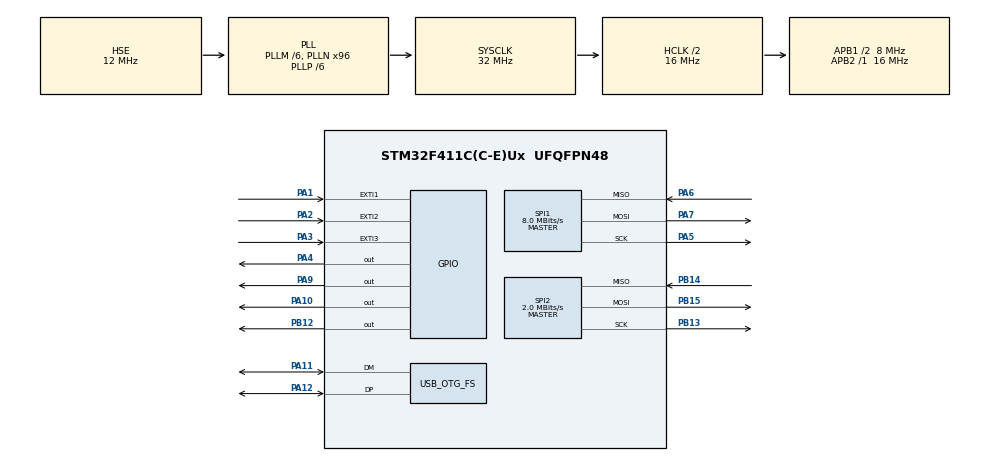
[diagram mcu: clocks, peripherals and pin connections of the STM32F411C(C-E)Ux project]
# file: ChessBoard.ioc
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FREERTOS.Tasks01=blinkErrorTask,8,128,blinkError,Default,NULL,Dynamic,NULL,NULL;updateTimeTask,8,128,updateTime,Default,NULL,Dynamic,NULL,NULL;updateMoveTask,8,128,updateMove,Default,NULL,Dynamic,NULL,NULL;animLightsTask,8,128,animateLights,Default,NULL,Dynamic,NULL,NULL
Mcu.Family=STM32F4
Mcu.Name=STM32F411C(C-E)Ux
Mcu.Package=UFQFPN48
NVIC.EXTI1_IRQn=true\:5\:0\:false\:false\:true\:true\:true\:true\:true
NVIC.EXTI2_IRQn=true\:5\:0\:false\:false\:true\:true\:true\:true\:true
NVIC.EXTI3_IRQn=true\:5\:0\:false\:false\:true\:true\:true\:true\:true
NVIC.OTG_FS_IRQn=true\:5\:0\:false\:false\:true\:true\:true\:true\:true
NVIC.PriorityGroup=NVIC_PRIORITYGROUP_4
NVIC.TIM1_UP_TIM10_IRQn=true\:15\:0\:false\:false\:true\:false\:false\:true\:true
NVIC.TIM2_IRQn=true\:5\:0\:false\:false\:true\:true\:true\:true\:true
NVIC.TIM3_IRQn=true\:5\:0\:false\:false\:true\:true\:true\:true\:true
NVIC.TIM5_IRQn=true\:5\:0\:false\:false\:true\:true\:true\:true\:true
NVIC.TimeBase=TIM1_UP_TIM10_IRQn
NVIC.TimeBaseIP=TIM1
PA1.GPIO_PuPd=GPIO_PULLDOWN
PA1.Signal=GPXTI1
PA10.GPIO_PuPd=GPIO_NOPULL
PA10.Signal=GPIO_Output
PA11.Mode=Device_Only
PA11.Signal=USB_OTG_FS_DM
PA12.Mode=Device_Only
PA12.Signal=USB_OTG_FS_DP
PA13.Signal=SYS_JTMS-SWDIO
PA14.Signal=SYS_JTCK-SWCLK
PA2.GPIO_PuPd=GPIO_PULLDOWN
PA2.Signal=GPXTI2
PA3.GPIO_ModeDefaultEXTI=GPIO_MODE_IT_RISING
PA3.GPIO_PuPd=GPIO_PULLDOWN
PA3.Signal=GPXTI3
PA4.Signal=GPIO_Output
PA5.GPIO_Speed=GPIO_SPEED_FREQ_LOW
PA5.Mode=Full_Duplex_Master
PA5.Signal=SPI1_SCK
PA6.GPIO_Speed=GPIO_SPEED_FREQ_LOW
PA6.Mode=Full_Duplex_Master
PA6.Signal=SPI1_MISO
PA7.GPIO_PuPd=GPIO_PULLDOWN
PA7.GPIO_Speed=GPIO_SPEED_FREQ_LOW
PA7.Mode=Full_Duplex_Master
PA7.Signal=SPI1_MOSI
PA9.Signal=GPIO_Output
PB12.Signal=GPIO_Output
PB13.GPIO_Speed=GPIO_SPEED_FREQ_LOW
PB13.Mode=Full_Duplex_Master
PB13.Signal=SPI2_SCK
PB14.GPIO_Speed=GPIO_SPEED_FREQ_LOW
PB14.Mode=Full_Duplex_Master
PB14.Signal=SPI2_MISO
PB15.GPIO_Speed=GPIO_SPEED_FREQ_LOW
PB15.Mode=Full_Duplex_Master
PB15.Signal=SPI2_MOSI
PH0\ -\ OSC_IN.Mode=HSE-External-Oscillator
PH0\ -\ OSC_IN.Signal=RCC_OSC_IN
PH1\ -\ OSC_OUT.Mode=HSE-External-Oscillator
PH1\ -\ OSC_OUT.Signal=RCC_OSC_OUT
ProjectManager.HeapSize=0x200
ProjectManager.StackSize=0x400
ProjectManager.TargetToolchain=Makefile
RCC.48MHZClocksFreq_Value=48000000
RCC.AHBCLKDivider=RCC_SYSCLK_DIV2
RCC.AHBFreq_Value=16000000
RCC.APB1CLKDivider=RCC_HCLK_DIV2
RCC.APB1Freq_Value=8000000
RCC.APB1TimFreq_Value=16000000
RCC.APB2Freq_Value=16000000
RCC.APB2TimFreq_Value=16000000
RCC.CortexFreq_Value=16000000
RCC.HCLKFreq_Value=16000000
RCC.HSE_VALUE=12000000
RCC.HSI_VALUE=16000000
RCC.LSE_VALUE=32768
RCC.PLLM=6
RCC.PLLN=96
RCC.PLLP=RCC_PLLP_DIV6
RCC.SYSCLKFreq_VALUE=32000000
RCC.SYSCLKSource=RCC_SYSCLKSOURCE_PLLCLK
RCC.VCOOutputFreq_Value=192000000
SPI1.BaudRatePrescaler=SPI_BAUDRATEPRESCALER_2
SPI1.CLKPolarity=SPI_POLARITY_LOW
SPI1.CalculateBaudRate=8.0 MBits/s
SPI1.Direction=SPI_DIRECTION_2LINES
SPI1.Mode=SPI_MODE_MASTER
SPI1.VirtualType=VM_MASTER
SPI2.BaudRatePrescaler=SPI_BAUDRATEPRESCALER_4
SPI2.CalculateBaudRate=2.0 MBits/s
SPI2.Direction=SPI_DIRECTION_2LINES
SPI2.Mode=SPI_MODE_MASTER
SPI2.VirtualType=VM_MASTER
TIM2.CounterMode=TIM_COUNTERMODE_DOWN
TIM2.Period=60000
TIM2.Prescaler=16000
TIM3.CounterMode=TIM_COUNTERMODE_DOWN
TIM3.Period=500
TIM3.Prescaler=16000
TIM5.CounterMode=TIM_COUNTERMODE_DOWN
TIM5.Period=60000
TIM5.Prescaler=16000
USB_DEVICE.CLASS_NAME_FS=CUSTOM_HID
USB_DEVICE.CUSTOM_HID_FS_BINTERVAL=0x5
USB_DEVICE.PID_CUSTOMHID_FS=0x5750
USB_DEVICE.USBD_CUSTOMHID_OUTREPORT_BUF_SIZE=64
USB_DEVICE.USBD_CUSTOM_HID_REPORT_DESC_SIZE=108
USB_DEVICE.USBD_DEBUG_LEVEL=0
USB_DEVICE.VID=0x483
USB_DEVICE.VirtualMode=CustomHid
USB_DEVICE.VirtualModeFS=Custom_Hid_FS
USB_OTG_FS.VirtualMode=Device_Only
USB_OTG_FS.low_power_enable=DISABLE
VP_FREERTOS_VS_CMSIS_V2.Mode=CMSIS_V2
VP_SYS_VS_tim1.Mode=TIM1
VP_TIM2_VS_ClockSourceINT.Mode=Internal
VP_TIM3_VS_ClockSourceINT.Mode=Internal
VP_TIM5_VS_ClockSourceINT.Mode=Internal
VP_USB_DEVICE_VS_USB_DEVICE_CUSTOM_HID_FS.Mode=CUSTOM_HID_FS
board=custom

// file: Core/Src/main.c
/**
  ******************************************************************************
  * @file           : main.c
  * @brief          : Main program body
  ******************************************************************************
  * @attention
  *
  * Copyright (c) 2024 STMicroelectronics.
  * All rights reserved.
  *
  * This software is licensed under terms that can be found in the LICENSE file
  * in the root directory of this software component.
  * If no LICENSE file comes with this software, it is provided AS-IS.
  *
  ******************************************************************************
  */
/* USER CODE END Header */
#include "main.h"
#include "cmsis_os2.h"
#include "usb_device.h"

/* USER CODE BEGIN Includes */
#include "game.h"
#include "max7219.h"
#include "stm32f4xx_hal.h"
#include "usb_device.h"
#include "usbd_def.h"
#include "string.h"
#include "usbd_customhid.h"
#include "usb.h"

/* USER CODE END Includes */

SPI_HandleTypeDef hspi1;
SPI_HandleTypeDef hspi2;

TIM_HandleTypeDef htim2;
TIM_HandleTypeDef htim3;
TIM_HandleTypeDef htim5;
extern bool isEnPassant;
extern bool moveIsCastling;

/* Definitions for blinkErrorTask */
osThreadId_t blinkErrorTaskHandle;
const osThreadAttr_t blinkErrorTask_attributes = {
  .name = "blinkErrorTask",
  .stack_size = 128 * 4,
  .priority = (osPriority_t) osPriorityLow,
};
/* Definitions for updateTimeTask */
osThreadId_t updateTimeTaskHandle;
const osThreadAttr_t updateTimeTask_attributes = {
  .name = "updateTimeTask",
  .stack_size = 128 * 4,
  .priority = (osPriority_t) osPriorityLow,
};
/* Definitions for updateMoveTask */
osThreadId_t updateMoveTaskHandle;
const osThreadAttr_t updateMoveTask_attributes = {
  .name = "updateMoveTask",
  .stack_size = 128 * 4,
  .priority = (osPriority_t) osPriorityLow,
};
/* Definitions for animLightsTask */
osThreadId_t animLightsTaskHandle;
const osThreadAttr_t animLightsTask_attributes = {
  .name = "animLightsTask",
  .stack_size = 128 * 4,
  .priority = (osPriority_t) osPriorityLow,
};

osSemaphoreId_t animateLightsSem;
osSemaphoreId_t checkCastleSem;
osSemaphoreId_t checkDesktopAppErrSem;
osMessageQueueId_t errorQueueHandle;
struct ErrorMessage errorMessage;

/* USER CODE BEGIN PV */
extern USBD_HandleTypeDef hUsbDeviceFS;
extern uint8_t lightsOffArr[8][8];
extern bool isErrorState;
extern bool desktopError;
extern bool startedPieceCheck;
uint8_t boardstate[8];
uint8_t boardstateArr[8][8];
uint8_t ledstate[8];
struct Clock clock1;
struct Clock clock2;
struct Player player1;
struct Player player2;
struct MoveState currentMove;
struct GameState game;
HIDClockModeReports clockModeReport;

/* USER CODE END PV */

void SystemClock_Config(void);
static void MX_GPIO_Init(void);
static void MX_SPI1_Init(void);
static void MX_SPI2_Init(void);
static void MX_TIM2_Init(void);
static void MX_TIM5_Init(void);
static void MX_TIM3_Init(void);
void blinkError(void *argument);
void updateTimeTask(void *argument);
void updateMove(void *argument);
void animateLights(void *argument);

/* USER CODE BEGIN 0 */
void updateTime() {
    // check for reset right off the bat
    if (game.resetNow) {
        game.resetNow = false;
        resetGame(&game);
    }
  //grab count value from CNT register of the active player's timer
    int count = game.activePlayer->clock.timer->Instance->CNT;

    //convert count to minutes and seconds
    volatile int totalSeconds = count / 1000;
    int minutes = totalSeconds / 60;
    int secondsRemaining = totalSeconds - (minutes * 60);

    uint8_t minutesReg;
    uint8_t secondsReg;

    //use correct register values for display depending on who is the active player
    if(game.activePlayer == game.player1) {
            minutesReg = PLAYER1_MINUTES;
            secondsReg = PLAYER1_SECONDS;
        } else {
            minutesReg = PLAYER2_MINUTES;
            secondsReg = PLAYER2_SECONDS;
        }

    //if the current player's clock has different time than is displayed, update the display accordingly
    if(secondsRemaining != game.activePlayer->clock.seconds || minutes != game.activePlayer->clock.minutes) {
        game.activePlayer->clock.seconds = secondsRemaining;
        game.activePlayer->clock.minutes = minutes;
        max7219_PrintNtos(minutesReg, minutes, 2);
        max7219_PrintNtos(secondsReg, secondsRemaining, 2);
    }

}

/* USER CODE END 0 */

int main(void)
{

  /* MCU Configuration--------------------------------------------------------*/

  /* Reset of all peripherals, Initializes the Flash interface and the Systick. */
  HAL_Init();

  /* Configure the system clock */
  SystemClock_Config();

  /* USER CODE BEGIN SysInit */
  // delay to let USB phy initialize before initializing all MCU peripherals. Lets display turn on properly
  HAL_Delay(2000);

  /* USER CODE END SysInit */

  /* Initialize all configured peripherals */
  MX_GPIO_Init();
  MX_SPI1_Init();
  MX_SPI2_Init();
  MX_TIM2_Init();
  MX_TIM5_Init();
  MX_TIM3_Init();
  /* USER CODE BEGIN 2 */
  animateLightsSem = osSemaphoreNew(1, 0, animateLightsSem);
  checkCastleSem = osSemaphoreNew(1, 0, checkCastleSem);
  checkDesktopAppErrSem = osSemaphoreNew(1, 0, checkDesktopAppErrSem);
  const osMessageQueueAttr_t errorQueue_attributes = {
      .name = "ErrorQueue",     // Queue name for debugging
      .attr_bits = 0,          // Queue attributes
      .cb_mem = NULL,          // Memory for queue control block (NULL = allocate from pool)
      .cb_size = 0,            // Size of queue control block
      .mq_mem = NULL,          // Memory for queue data (NULL = allocate from pool)
      .mq_size = 0            // Size of queue data
  };
  errorQueueHandle = osMessageQueueNew(1, sizeof(struct ErrorMessage), &errorQueue_attributes);

  //properly set up 7 segment LCD
  max7219_Init(0xA);
  max7219_Decode_On();
  HAL_GPIO_WritePin(GPIOB, GPIO_PIN_12, GPIO_PIN_SET);

  for(int i = 0; i < 8; i++) {
    ledstate[i] = 0xA2;
  }
  HAL_GPIO_WritePin(GPIOA, GPIO_PIN_9, GPIO_PIN_SET);
  HAL_GPIO_WritePin(GPIOA, GPIO_PIN_10, GPIO_PIN_RESET);

  //initialize clocks properly, enabling proper interrupts
  TIM2->SR &= ~(TIM_SR_UIF_Msk);
  TIM2->DIER |= 1;

  TIM3->SR &= ~(TIM_SR_UIF_Msk);
  TIM3->DIER |= 1;

  TIM5->SR &= ~(TIM_SR_UIF_Msk);
  TIM5->DIER |= 1;

  //instantiate and properly initialize both players' clocks
  clock1 = (struct Clock){&htim2, 1, 0};
  clock2 = (struct Clock){&htim5, 1, 0};

  //instantiate and properly initialize both players
  player1 = (struct Player){clock1, true};
  player2 = (struct Player){clock2, false};

  //initialize currentMove
  currentMove = (struct MoveState){false, false, false};

  uint8_t previousState[8][8] = {
            {1, 1, 1, 1, 1, 1, 1, 1},
        {1, 1, 1, 1, 1, 1, 1, 1},
        {0, 0, 0, 0, 0, 0, 0, 0},
        {0, 0, 0, 0, 0, 0, 0, 0},
        {0, 0, 0, 0, 0, 0, 0, 0},
        {0, 0, 0, 0, 0, 0, 0, 0},
        {1, 1, 1, 1, 1, 1, 1, 1},
        {1, 1, 1, 1, 1, 1, 1, 1}
      };
    // create buffer to store state of board and initialize game struct
    char newGame[8][8] = {
          {'r', 'n', 'b', 'q', 'k', 'b', 'n', 'r'},
          {'p', 'p', 'p', 'p', 'p', 'p', 'p', 'p'},
          {0, 0, 0, 0, 0, 0, 0, 0},
          {0, 0, 0, 0, 0, 0, 0, 0},
          {0, 0, 0, 0, 0, 0, 0, 0},
          {0, 0, 0, 0, 0, 0, 0, 0},
          {'P', 'P', 'P', 'P', 'P', 'P', 'P', 'P'},
          {'R', 'N', 'B', 'Q', 'K', 'B', 'N', 'R'}
      };

  //initialize game
  game = (struct GameState){&player1, &player1, &player2, false, false, false, ONE_MINUTE_LIMIT, false, false, &currentMove};
  memcpy(game.previousState, previousState, 8 * 8 * sizeof(previousState[0][0]));
  memcpy(game.previousStateChar, newGame, 8 * 8 * sizeof(newGame[0][0]));

  //display proper starting times for both players
  initTime(&game);

  lightsOff();

  /* USER CODE END 2 */

  /* Init scheduler */
  osKernelInitialize();

  /* Create the thread(s) */
  /* creation of blinkErrorTask */
  blinkErrorTaskHandle = osThreadNew(blinkError, NULL, &blinkErrorTask_attributes);

  /* creation of updateTimeTask */
  updateTimeTaskHandle = osThreadNew(updateTimeTask, NULL, &updateTimeTask_attributes);

  /* creation of updateMoveTask */
  updateMoveTaskHandle = osThreadNew(updateMove, NULL, &updateMoveTask_attributes);

  /* creation of animLightsTask */
  animLightsTaskHandle = osThreadNew(animateLights, NULL, &animLightsTask_attributes);

  /* Start scheduler */
  osKernelStart();
  /* We should never get here as control is now taken by the scheduler */
  /* Infinite loop */
  while (1)
  {

  }
}

void SystemClock_Config(void)
{
  RCC_OscInitTypeDef RCC_OscInitStruct = {0};
  RCC_ClkInitTypeDef RCC_ClkInitStruct = {0};

  /** Configure the main internal regulator output voltage
  */
  __HAL_RCC_PWR_CLK_ENABLE();
  __HAL_PWR_VOLTAGESCALING_CONFIG(PWR_REGULATOR_VOLTAGE_SCALE1);

  /** Initializes the RCC Oscillators according to the specified parameters
  * in the RCC_OscInitTypeDef structure.
  */
  RCC_OscInitStruct.OscillatorType = RCC_OSCILLATORTYPE_HSE;
  RCC_OscInitStruct.HSEState = RCC_HSE_ON;
  RCC_OscInitStruct.PLL.PLLState = RCC_PLL_ON;
  RCC_OscInitStruct.PLL.PLLSource = RCC_PLLSOURCE_HSE;
  RCC_OscInitStruct.PLL.PLLM = 6;
  RCC_OscInitStruct.PLL.PLLN = 96;
  RCC_OscInitStruct.PLL.PLLP = RCC_PLLP_DIV6;
  RCC_OscInitStruct.PLL.PLLQ = 4;
  if (HAL_RCC_OscConfig(&RCC_OscInitStruct) != HAL_OK)
  {
    Error_Handler();
  }

  /** Initializes the CPU, AHB and APB buses clocks
  */
  RCC_ClkInitStruct.ClockType = RCC_CLOCKTYPE_HCLK|RCC_CLOCKTYPE_SYSCLK
                              |RCC_CLOCKTYPE_PCLK1|RCC_CLOCKTYPE_PCLK2;
  RCC_ClkInitStruct.SYSCLKSource = RCC_SYSCLKSOURCE_PLLCLK;
  RCC_ClkInitStruct.AHBCLKDivider = RCC_SYSCLK_DIV2;
  RCC_ClkInitStruct.APB1CLKDivider = RCC_HCLK_DIV2;
  RCC_ClkInitStruct.APB2CLKDivider = RCC_HCLK_DIV1;

  if (HAL_RCC_ClockConfig(&RCC_ClkInitStruct, FLASH_LATENCY_0) != HAL_OK)
  {
    Error_Handler();
  }
}

static void MX_SPI1_Init(void)
{

  /* SPI1 parameter configuration*/
  hspi1.Instance = SPI1;
  hspi1.Init.Mode = SPI_MODE_MASTER;
  hspi1.Init.Direction = SPI_DIRECTION_2LINES;
  hspi1.Init.DataSize = SPI_DATASIZE_8BIT;
  hspi1.Init.CLKPolarity = SPI_POLARITY_LOW;
  hspi1.Init.CLKPhase = SPI_PHASE_1EDGE;
  hspi1.Init.NSS = SPI_NSS_SOFT;
  hspi1.Init.BaudRatePrescaler = SPI_BAUDRATEPRESCALER_2;
  hspi1.Init.FirstBit = SPI_FIRSTBIT_MSB;
  hspi1.Init.TIMode = SPI_TIMODE_DISABLE;
  hspi1.Init.CRCCalculation = SPI_CRCCALCULATION_DISABLE;
  hspi1.Init.CRCPolynomial = 10;
  if (HAL_SPI_Init(&hspi1) != HAL_OK)
  {
    Error_Handler();
  }

}

static void MX_SPI2_Init(void)
{

  /* SPI2 parameter configuration*/
  hspi2.Instance = SPI2;
  hspi2.Init.Mode = SPI_MODE_MASTER;
  hspi2.Init.Direction = SPI_DIRECTION_2LINES;
  hspi2.Init.DataSize = SPI_DATASIZE_8BIT;
  hspi2.Init.CLKPolarity = SPI_POLARITY_LOW;
  hspi2.Init.CLKPhase = SPI_PHASE_1EDGE;
  hspi2.Init.NSS = SPI_NSS_SOFT;
  hspi2.Init.BaudRatePrescaler = SPI_BAUDRATEPRESCALER_4;
  hspi2.Init.FirstBit = SPI_FIRSTBIT_MSB;
  hspi2.Init.TIMode = SPI_TIMODE_DISABLE;
  hspi2.Init.CRCCalculation = SPI_CRCCALCULATION_DISABLE;
  hspi2.Init.CRCPolynomial = 10;
  if (HAL_SPI_Init(&hspi2) != HAL_OK)
  {
    Error_Handler();
  }

}

static void MX_TIM2_Init(void)
{

  TIM_ClockConfigTypeDef sClockSourceConfig = {0};
  TIM_MasterConfigTypeDef sMasterConfig = {0};

  htim2.Instance = TIM2;
  htim2.Init.Prescaler = 16000;
  htim2.Init.CounterMode = TIM_COUNTERMODE_DOWN;
  htim2.Init.Period = 60000;
  htim2.Init.ClockDivision = TIM_CLOCKDIVISION_DIV1;
  htim2.Init.AutoReloadPreload = TIM_AUTORELOAD_PRELOAD_DISABLE;
  if (HAL_TIM_Base_Init(&htim2) != HAL_OK)
  {
    Error_Handler();
  }
  sClockSourceConfig.ClockSource = TIM_CLOCKSOURCE_INTERNAL;
  if (HAL_TIM_ConfigClockSource(&htim2, &sClockSourceConfig) != HAL_OK)
  {
    Error_Handler();
  }
  sMasterConfig.MasterOutputTrigger = TIM_TRGO_RESET;
  sMasterConfig.MasterSlaveMode = TIM_MASTERSLAVEMODE_DISABLE;
  if (HAL_TIMEx_MasterConfigSynchronization(&htim2, &sMasterConfig) != HAL_OK)
  {
    Error_Handler();
  }

}

static void MX_TIM3_Init(void)
{

  TIM_ClockConfigTypeDef sClockSourceConfig = {0};
  TIM_MasterConfigTypeDef sMasterConfig = {0};

  htim3.Instance = TIM3;
  htim3.Init.Prescaler = 16000;
  htim3.Init.CounterMode = TIM_COUNTERMODE_DOWN;
  htim3.Init.Period = 1000;
  htim3.Init.ClockDivision = TIM_CLOCKDIVISION_DIV1;
  htim3.Init.AutoReloadPreload = TIM_AUTORELOAD_PRELOAD_DISABLE;
  if (HAL_TIM_Base_Init(&htim3) != HAL_OK)
  {
    Error_Handler();
  }
  sClockSourceConfig.ClockSource = TIM_CLOCKSOURCE_INTERNAL;
  if (HAL_TIM_ConfigClockSource(&htim3, &sClockSourceConfig) != HAL_OK)
  {
    Error_Handler();
  }
  sMasterConfig.MasterOutputTrigger = TIM_TRGO_RESET;
  sMasterConfig.MasterSlaveMode = TIM_MASTERSLAVEMODE_DISABLE;
  if (HAL_TIMEx_MasterConfigSynchronization(&htim3, &sMasterConfig) != HAL_OK)
  {
    Error_Handler();
  }

}

static void MX_TIM5_Init(void)
{

  TIM_ClockConfigTypeDef sClockSourceConfig = {0};
  TIM_MasterConfigTypeDef sMasterConfig = {0};

  htim5.Instance = TIM5;
  htim5.Init.Prescaler = 16000;
  htim5.Init.CounterMode = TIM_COUNTERMODE_DOWN;
  htim5.Init.Period = 60000;
  htim5.Init.ClockDivision = TIM_CLOCKDIVISION_DIV1;
  htim5.Init.AutoReloadPreload = TIM_AUTORELOAD_PRELOAD_DISABLE;
  if (HAL_TIM_Base_Init(&htim5) != HAL_OK)
  {
    Error_Handler();
  }
  sClockSourceConfig.ClockSource = TIM_CLOCKSOURCE_INTERNAL;
  if (HAL_TIM_ConfigClockSource(&htim5, &sClockSourceConfig) != HAL_OK)
  {
    Error_Handler();
  }
  sMasterConfig.MasterOutputTrigger = TIM_TRGO_RESET;
  sMasterConfig.MasterSlaveMode = TIM_MASTERSLAVEMODE_DISABLE;
  if (HAL_TIMEx_MasterConfigSynchronization(&htim5, &sMasterConfig) != HAL_OK)
  {
    Error_Handler();
  }

}

static void MX_GPIO_Init(void)
{
  GPIO_InitTypeDef GPIO_InitStruct = {0};

  /* GPIO Ports Clock Enable */
  __HAL_RCC_GPIOH_CLK_ENABLE();
  __HAL_RCC_GPIOA_CLK_ENABLE();
  __HAL_RCC_GPIOB_CLK_ENABLE();

  /*Configure GPIO pin Output Level */
  HAL_GPIO_WritePin(GPIOA, GPIO_PIN_4|GPIO_PIN_9|GPIO_PIN_10, GPIO_PIN_RESET);

  /*Configure GPIO pin Output Level */
  HAL_GPIO_WritePin(GPIOB, GPIO_PIN_12, GPIO_PIN_RESET);

  /*Configure GPIO pins : PA1 PA2 PA3 */
  GPIO_InitStruct.Pin = GPIO_PIN_1|GPIO_PIN_2|GPIO_PIN_3;
  GPIO_InitStruct.Mode = GPIO_MODE_IT_RISING;
  GPIO_InitStruct.Pull = GPIO_PULLDOWN;
  HAL_GPIO_Init(GPIOA, &GPIO_InitStruct);

  /*Configure GPIO pins : PA4 PA9 PA10 */
  GPIO_InitStruct.Pin = GPIO_PIN_4|GPIO_PIN_9|GPIO_PIN_10;
  GPIO_InitStruct.Mode = GPIO_MODE_OUTPUT_PP;
  GPIO_InitStruct.Pull = GPIO_NOPULL;
  GPIO_InitStruct.Speed = GPIO_SPEED_FREQ_LOW;
  HAL_GPIO_Init(GPIOA, &GPIO_InitStruct);

  /*Configure GPIO pin : PB12 */
  GPIO_InitStruct.Pin = GPIO_PIN_12;
  GPIO_InitStruct.Mode = GPIO_MODE_OUTPUT_PP;
  GPIO_InitStruct.Pull = GPIO_NOPULL;
  GPIO_InitStruct.Speed = GPIO_SPEED_FREQ_LOW;
  HAL_GPIO_Init(GPIOB, &GPIO_InitStruct);

  /* EXTI interrupt init*/
  HAL_NVIC_SetPriority(EXTI1_IRQn, 5, 0);
  HAL_NVIC_EnableIRQ(EXTI1_IRQn);

  HAL_NVIC_SetPriority(EXTI2_IRQn, 5, 0);
  HAL_NVIC_EnableIRQ(EXTI2_IRQn);

  HAL_NVIC_SetPriority(EXTI3_IRQn, 5, 0);
  HAL_NVIC_EnableIRQ(EXTI3_IRQn);

}

/* USER CODE BEGIN 4 */
void readHallSensorData() {
      //de-assert and re-assert load pin to load values into register's D flip flops
      HAL_GPIO_WritePin(GPIOA, GPIO_PIN_9, GPIO_PIN_RESET);
      osDelay(1);
      HAL_GPIO_WritePin(GPIOA, GPIO_PIN_9, GPIO_PIN_SET);

      //transmit MISO data from shift registers into boardstate buffer
      HAL_SPI_Receive(&hspi1, (uint8_t *)boardstate, 8, 100000);

      //turn received boardstate into 2d array instead of 1d array of uint8_t's
      while((SPI1->SR & 0b1)) {}
}
/* USER CODE END 4 */

void blinkError(void *argument)
{
  /* init code for USB_DEVICE */
  MX_USB_DEVICE_Init();
  /* USER CODE BEGIN 5 */
  uint8_t blinkLightsArr[8][8];
  /* Infinite loop */
  for(;;)
  {
    osMessageQueueGet(errorQueueHandle, &errorMessage, NULL, osWaitForever);
    int count = 0;
    bool inErrorState = true;
    while(inErrorState) {

      // exit error state and reset board for new game if reset button hit during error
      if (!game.gameStarted) {
          game.currentMove->lightsOn = false;
          isErrorState = false;
          inErrorState = false;
          lightsOff();
          resetGame(&game);
          osThreadResume(updateMoveTaskHandle);
          break;
      }

      readHallSensorData();

      //constantly store state of board in game struct so can be used when button is pressed
      for(int i = 0; i < 8; i++) {
        game.currentBoardState[i][0] = (0b10000000 & ~boardstate[i]) >> 7;
        game.currentBoardState[i][1] = (0b01000000 & ~boardstate[i]) >> 6;
        game.currentBoardState[i][2] = (0b00100000 & ~boardstate[i]) >> 5;
        game.currentBoardState[i][3] = (0b00010000 & ~boardstate[i]) >> 4;
        game.currentBoardState[i][4] = (0b00001000 & ~boardstate[i]) >> 3;
        game.currentBoardState[i][5] = (0b00000100 & ~boardstate[i]) >> 2;
        game.currentBoardState[i][6] = (0b00000010 & ~boardstate[i]) >> 1;
        game.currentBoardState[i][7] = (0b00000001 & ~boardstate[i]) >> 0;

      }

      // rotate array to match normal orientation if top is white
      if (game.gameStarted && !game.player1IsWhite) {
        rotate8x8Array(game.currentBoardState);
        // rotate 8 byte boardstate for error lights for frontend
        rotate8Array(boardstate);
      }

      memset(blinkLightsArr, 0, 64);

        // light up all pieces that are off board but need put back to get back to beginning of move
        bool arrsSame = true;
        for(int i = 0; i < 8; i++) {
          for(int j = 0; j < 8; j++) {
            if (game.currentBoardState[i][j] != game.previousState[i][j]) {
              if (errorMessage.resetState == NO_PIECE_PICKUP) {
                arrsSame = false;

                // every half second, turn on or turn off so lights link
                if (count % 2 == 0) {
                  blinkLightsArr[i][j] = 1;
                } else {
                  blinkLightsArr[i][j] = 0;
                }
              } else if (errorMessage.resetState == FIRST_PIECE_PICKUP && !(i == errorMessage.firstPickupRow && j == errorMessage.firstPickupCol)) {
                if (!(game.currentMove->allPieceLights[i][j] == 1 && game.currentBoardState[i][j] == 1)) {
                arrsSame = false;

                // every half second, turn on or turn off so lights link
                if (count % 2 == 0) {
                  blinkLightsArr[i][j] = 1;
                } else {
                  blinkLightsArr[i][j] = 0;
                }
                }
              } else if (errorMessage.resetState == SECOND_PIECE_PICKUP && !(i == clockModeReport.firstPickupRow && j == clockModeReport.firstPickupCol) && !(i == clockModeReport.report2.secondPickupRow && j == clockModeReport.report2.secondPickupCol)) {
                // TODO: SHOULD TWO LIGHTS FROM PICKUP BLINK OR INDICATE ANYTHING, as rn if two pieces pick up and third picked up, just makes set down third and not all 3
                arrsSame = false;

                // every half second, turn on or turn off so lights link
                if (count % 2 == 0) {
                  blinkLightsArr[i][j] = 1;
                } else {
                  blinkLightsArr[i][j] = 0;
                }
              }
            }
          }
        }

        // if board is back to how it previously was, exit error state
        if (arrsSame) {
          game.currentMove->lightsOn = false;
          isErrorState = false;
          inErrorState = false;
          lightsOff();
          osThreadResume(updateMoveTaskHandle);

          // if it's anything but second piece pickup, simply set en passant and castling to false in case they were true and go back to NO_PIECE_PICKUP
          if (errorMessage.resetState == NO_PIECE_PICKUP || errorMessage.resetState == FIRST_PIECE_PICKUP || isEnPassant || moveIsCastling) {
            isEnPassant = false;
            moveIsCastling = false;
            // need to set pieceNewSquare to false, otherwise, if it was true, won't light up squares first time picking up a piece after this
            game.currentMove->pieceNewSquare = false;
            game.currentMove->pieceNewRow = 0xFF;
            game.currentMove->pieceNewCol = 0xFF;

            game.currentMove->pickupState = NO_PIECE_PICKUP;

            // send frontend data to reset back to no piece pickup state
            HIDFrontendDataReports frontendReport;
            frontendReport.reportId = FRONTEND_DATA_REPORT_ID;
            frontendReport.reportReason = NO_PIECE_PICKUP_FRONTEND_REASON;
            USBD_CUSTOM_HID_SendReport(&hUsbDeviceFS,(uint8_t*)&frontendReport, 4);

          // if second piece pickup, and game back to all but those two down, light up just those two spots
          } else if (errorMessage.resetState == SECOND_PIECE_PICKUP) {
            game.currentMove->pickupState = errorMessage.resetState;
            game.currentMove->lightsOn = true;
            game.currentMove->receivedLightData = true;
            game.currentMove->lightState[clockModeReport.firstPickupRow][clockModeReport.firstPickupCol] = 1;
            game.currentMove->lightState[clockModeReport.report2.secondPickupRow][clockModeReport.report2.secondPickupCol] = 1;
            updateLights();

            // send frontend data to reset back to no piece pickup state
            HIDFrontendDataReports frontendReport;
            frontendReport.reportId = FRONTEND_DATA_REPORT_ID;
            frontendReport.reportReason = SECOND_PIECE_PICKED_UP_FRONTEND_REASON;
            frontendReport.secondPieceRow = clockModeReport.report2.secondPickupRow;
            frontendReport.secondPieceCol = clockModeReport.report2.secondPickupCol;
            USBD_CUSTOM_HID_SendReport(&hUsbDeviceFS,(uint8_t*)&frontendReport, 4);
          }

          break;

        } else {

          // send lights data for error state
          HIDFrontendDataErrorReport frontendErrorReport;
          frontendErrorReport.reportId = FRONTEND_DATA_ERROR_REPORT_ID;
          memcpy(frontendErrorReport.errorLights, boardstate, 8);
          USBD_CUSTOM_HID_SendReport(&hUsbDeviceFS,(uint8_t*)&frontendErrorReport, 9);
          memcpy(game.currentMove->lightState, blinkLightsArr, 64);
          updateLights();
          count++;

          // TODO: UPDATE SO IT'S NOT A HALF SECOND DELAY ON CHECKING BOARD!!!!!!!!
          osDelay(500);
        }

      osDelay(1);
    }
  }
  /* USER CODE END 5 */
}

void updateTimeTask(void *argument)
{
  /* USER CODE BEGIN updateTime */
  /* Infinite loop */
  for(;;)
  {
    if (game.timeControl == NO_CLOCK) {
      // if game needs reset, need to explicitly check in no clock mode since normal check is in updateTimeOld
      if (game.resetNow) {
        game.resetNow = false;
        resetGame(&game);
      }
      osDelay(1);
      continue;
    }
    updateTime();
    osDelay(1);
  }
  /* USER CODE END updateTime */
}

void updateMove(void *argument)
{
  /* USER CODE BEGIN updateMove */
  /* Infinite loop */
  for(;;)
  {
    if (isErrorState && !game.currentMove->isFinalState) {
      // notify error queue with proper error message and suspend current task
      osMessageQueuePut(errorQueueHandle, &errorMessage, (int)NULL, osWaitForever);
      osThreadSuspend(updateMoveTaskHandle);
    }

    readHallSensorData();

    // convert boardstate 1d, 8 byte array to 8x8 2D array of 1's and 0's
    for(int i = 0; i < 8; i++) {
      game.currentBoardState[i][0] = (0b10000000 & ~boardstate[i]) >> 7;
      game.currentBoardState[i][1] = (0b01000000 & ~boardstate[i]) >> 6;
      game.currentBoardState[i][2] = (0b00100000 & ~boardstate[i]) >> 5;
      game.currentBoardState[i][3] = (0b00010000 & ~boardstate[i]) >> 4;
      game.currentBoardState[i][4] = (0b00001000 & ~boardstate[i]) >> 3;
      game.currentBoardState[i][5] = (0b00000100 & ~boardstate[i]) >> 2;
      game.currentBoardState[i][6] = (0b00000010 & ~boardstate[i]) >> 1;
      game.currentBoardState[i][7] = (0b00000001 & ~boardstate[i]) >> 0;

    }

    // rotate array to match normal orientation if top is white
    if (game.gameStarted && !game.player1IsWhite)
      rotate8x8Array(game.currentBoardState);

    if (game.gameStarted) {
      //calculate if move occurred and capture data related to said move
      if (!game.currentMove->isFinalState) {
        updateMoveShit(&game);
      }
    } else {
      // light up squares where pieces aren't but should be before start of game
      checkStartingSquares();
    }

    //if current move is finished, transmit said data to teh desktop app
    if(game.currentMove->isFinalState && game.gameStarted) {
      updateMoveShit(&game);
      if (!isErrorState) {
        if (game.currentMove->pickupState == SECOND_PIECE_PICKUP) {

          clockModeReport.reportId = PIECE_TAKEN_OR_CASTLING_REPORT_ID;
          USBD_CUSTOM_HID_SendReport(&hUsbDeviceFS, (uint8_t*)&clockModeReport, 7);
          USBD_CUSTOM_HID_ReceivePacket(&hUsbDeviceFS);

          // wait for response from desktop app if there was an error or not
          osDelay(5);
          osSemaphoreAcquire(checkDesktopAppErrSem, osWaitForever);
          // TODO: MAKE SURE THAT THE char state of board always looks right when playing
        } else {
          clockModeReport.reportId = PIECE_MOVED_REPORT_ID;

          USBD_CUSTOM_HID_SendReport(&hUsbDeviceFS, (uint8_t*)&clockModeReport, 5);
          USBD_CUSTOM_HID_ReceivePacket(&hUsbDeviceFS);
          // wait for response from desktop app if there was an error or not
          osDelay(5);
          osSemaphoreAcquire(checkDesktopAppErrSem, osWaitForever);
        }
      }

    // if move sent to desktop app is wrong because they play it in the wrong spot and hit button, etc
    if (isErrorState) {
      if (desktopError) {
      desktopError = false;
      game.currentMove->isFinalState = false;
      }

      // notify error queue with proper error message and suspend current task
      osMessageQueuePut(errorQueueHandle, (const void *)&errorMessage, (int)NULL, osWaitForever);
      osThreadSuspend(updateMoveTaskHandle);
      osDelay(1);
      isErrorState = false;
      game.currentMove->isFinalState = false;
      continue;
    }
    // update previous state to that of current board
    memcpy(game.previousState, game.currentBoardState, 8 * 8 * sizeof(game.previousState[0][0]));
    memset(game.currentMove->allPieceLights, 0, 64);
    memset(game.currentMove->lightState, 0, 64);

    // update who active player is and start/stop clock accordingly (or what is displayed for no clock mode)
    if (!game.isWhiteMove) {
      if (game.player1IsWhite) {
        game.activePlayer = game.player1;
        if (game.timeControl != NO_CLOCK) {
          HAL_TIM_Base_Stop(&htim5);
          HAL_TIM_Base_Start(&htim2);
        } else {
          displayNoClockWhite();
        }
      } else {
        game.activePlayer = game.player2;
        if (game.timeControl != NO_CLOCK) {
          HAL_TIM_Base_Stop(&htim2);
          HAL_TIM_Base_Start(&htim5);
        } else {
          displayNoClockBlack();
        }
      }
      game.isWhiteMove = true;
    } else {
      if (game.player1IsWhite) {
        game.activePlayer = game.player2;
        if (game.timeControl != NO_CLOCK) {
          HAL_TIM_Base_Stop(&htim2);
          HAL_TIM_Base_Start(&htim5);
        } else {
          displayNoClockBlack();
        }
      } else {
        game.activePlayer = game.player1;
        if (game.timeControl != NO_CLOCK) {
          HAL_TIM_Base_Stop(&htim5);
          HAL_TIM_Base_Start(&htim2);
        } else {
          displayNoClockWhite();
        }
      }
        game.isWhiteMove = false;
    }

    // TODO: IS THIS NECESSARY?????
    // reset final pickup to invalid values before next move
    if (clockModeReport.reportId == PIECE_TAKEN_OR_CASTLING_REPORT_ID) {
      clockModeReport.report2.finalPickupRow = 8;
      clockModeReport.report2.finalPickupCol = 8;
    } else {
      clockModeReport.report1.finalPickupRow = 8;
      clockModeReport.report1.finalPickupCol = 8;

    }

    // reset values associated with current move to prepare for next one
    game.currentMove->pickupState = NO_PIECE_PICKUP;
    game.currentMove->isFinalState = false;
    game.currentMove->lightsOn = false;
    game.currentMove->pieceNewSquare = false;
    game.currentMove->pieceNewRow = 0xFF;
    game.currentMove->pieceNewCol = 0xFF;
    game.currentMove->receivedLightData = false;
    isEnPassant = false;
    moveIsCastling = false;
    startedPieceCheck = false;
    // turn off any lights currently on
    lightsOff();
    }
    osDelay(10);
  }
  /* USER CODE END updateMove */
}

void animateLights(void *argument)
{
  /* USER CODE BEGIN animateLights */
  /* Infinite loop */
  for(;;)
  {
    osSemaphoreAcquire(animateLightsSem, osWaitForever);
    animateInitialLights();
    osDelay(1);
  }
  /* USER CODE END animateLights */
}

void HAL_TIM_PeriodElapsedCallback(TIM_HandleTypeDef *htim)
{
  if (htim->Instance == TIM1) {
    HAL_IncTick();
  }
}

void Error_Handler(void)
{
  __disable_irq();
  while (1)
  {
  }
}
